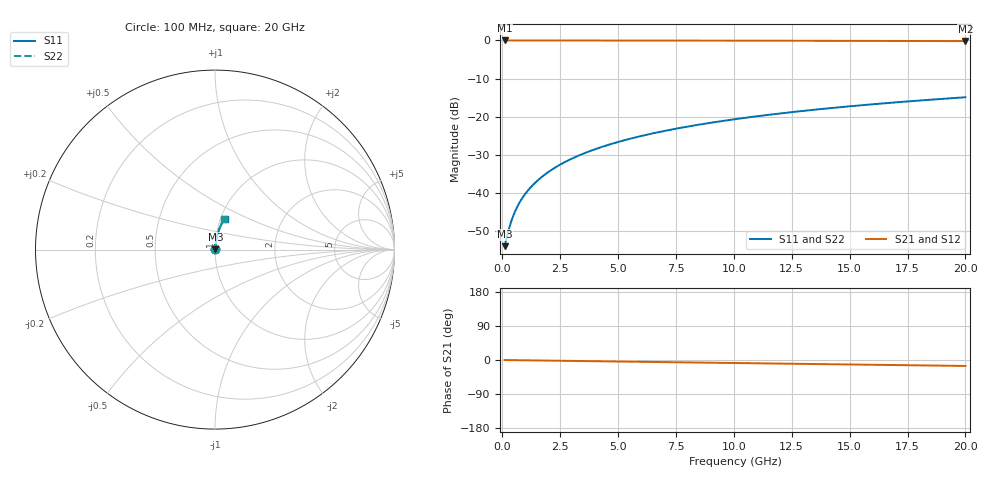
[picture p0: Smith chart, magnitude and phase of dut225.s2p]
! Touchstone file exported from HFSS 2026.1.0
!  File:  C:/ffzhzh/LocalFiles/Ansys_Project_Files/temp_train_TMRDL_225_1782984406_45328.aedt
!  Generated:  05:27:56 PM Jul  2, 2026
!  Design:  TMRDL
!  Project:  temp_train_TMRDL_225_1782984406_45328
! Variables:
!  h_bsmrdl = 2um
!  h_ox = 20um
!  h_rdl = 5um
!  h_sub = 80um
!  h_tmrdl = 2.11um
!  h_tsv = 80um
!  h_via = 3um
!  l_bsmrdl = 300um
!  l_sub = 567.78um
!  l_tmrdl = 167.78um
!  m_sub = 200um
!  pitch = 50.54um
!  r_tsv = 6um
!  s_tmrdl = 10um
!  w_bsmrdl = 18um
!  w_sub = 500um
!  w_tmrdl = 21.02um
!  x_tsv_center1 = 178.29um
!  x_tsv_center2 = 496.29um
!  x_tsv_center3 = 685.09um
!  x_tsv_center4 = 1003.09um
!  x_tsv_center5 = 1191.89um
!  x_tsv_center6 = 1509.89um
# GHz S MA R 50.000000
! Terminal data exported
! Port[1] = TM_RDL1_1_T1
! Port[2] = TM_RDL1_1_T2
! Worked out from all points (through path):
!   200 points, 100 MHz to 20 GHz, reference 50 ohm
!   highest |S21| = -0.02 dB at 100 MHz (marker M1); lowest = -0.2 dB at 20 GHz (marker M2)
!   group delay of S21, straight-line fit = 2.18 ps
!   lowest |S11| = -53.9 dB at 100 MHz (marker M3), VSWR 1.00, Z = 50.2 + j0.101 ohm
!   |S11| at or under -10 dB: start of sweep to end of sweep
!   |S22| runs from -53.9 to -14.9 dB; largest |S21 - S12| = 3.5e-15
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0.1  0.002011 29.9  0.9983 -0.1  0.9983 -0.1  0.002011 29.9
! Gamma 0 0 0 0
! Port Impedance 50 0 50 0
0.3  0.003492 58.6  0.9982 -0.3  0.9982 -0.3  0.003492 58.6
0.4  0.004372 64.6  0.9981 -0.3  0.9981 -0.3  0.004372 64.6
0.5  0.005273 68.4  0.9981 -0.4  0.9981 -0.4  0.005273 68.4
0.6  0.00618 71.1  0.998 -0.5  0.998 -0.5  0.00618 71.1
0.8  0.007997 74.7  0.9979 -0.7  0.9979 -0.7  0.007997 74.7
1.1  0.01073 77.7  0.9978 -0.9  0.9978 -0.9  0.01073 77.7
1.3  0.01255 79.0  0.9978 -1.1  0.9978 -1.1  0.01255 79.0
1.6  0.01529 80.4  0.9977 -1.3  0.9977 -1.3  0.01529 80.4
2.1  0.01988 81.8  0.9975 -1.7  0.9975 -1.7  0.01988 81.8
2.7  0.02541 82.6  0.9974 -2.2  0.9974 -2.2  0.02541 82.6
3.5  0.0328 83.0  0.9971 -2.8  0.9971 -2.8  0.0328 83.1
4.2  0.03926 83.1  0.9968 -3.4  0.9968 -3.4  0.03926 83.1
5  0.04665 82.9  0.9964 -4.0  0.9964 -4.0  0.04665 82.9
5.9  0.05494 82.6  0.9959 -4.7  0.9959 -4.7  0.05494 82.6
6.8  0.0632 82.1  0.9953 -5.4  0.9953 -5.4  0.0632 82.1
8.3  0.07691 81.3  0.9942 -6.6  0.9942 -6.6  0.07691 81.3
10.1  0.09324 80.1  0.9926 -8.0  0.9926 -8.0  0.09324 80.1
11.7  0.1076 79.0  0.9909 -9.3  0.9909 -9.3  0.1076 79.0
13.4  0.1228 77.7  0.9889 -10.6  0.9889 -10.6  0.1228 77.7
16.7  0.1516 75.3  0.9845 -13.2  0.9845 -13.2  0.1516 75.3
20  0.1798 72.9  0.9793 -15.7  0.9793 -15.7  0.1798 72.9
